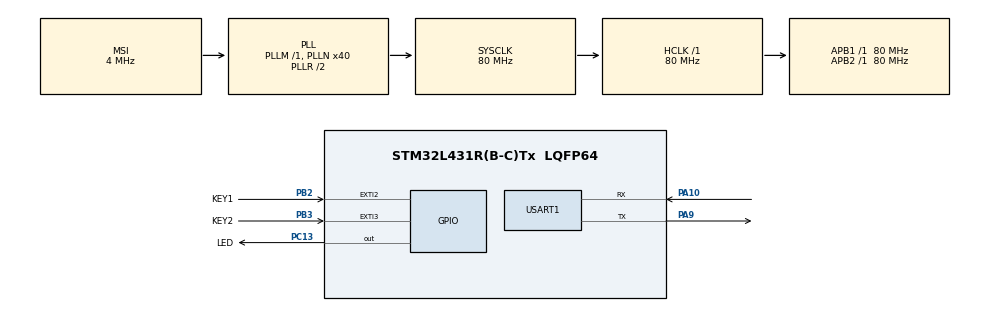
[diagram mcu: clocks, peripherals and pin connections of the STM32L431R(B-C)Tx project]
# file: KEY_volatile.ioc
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Mcu.Family=STM32L4
Mcu.Name=STM32L431R(B-C)Tx
Mcu.Package=LQFP64
NVIC.EXTI2_IRQn=true\:1\:0\:true\:false\:true\:true\:true
NVIC.EXTI3_IRQn=true\:2\:0\:true\:false\:true\:true\:true
NVIC.PriorityGroup=NVIC_PRIORITYGROUP_4
NVIC.USART1_IRQn=true\:0\:0\:false\:false\:true\:true\:true
PA10.Mode=Asynchronous
PA10.Signal=USART1_RX
PA9.Mode=Asynchronous
PA9.Signal=USART1_TX
PB2.GPIO_Label=KEY1
PB2.GPIO_PuPd=GPIO_PULLUP
PB2.Signal=GPXTI2
PB3\ (JTDO-TRACESWO).GPIO_Label=KEY2
PB3\ (JTDO-TRACESWO).GPIO_PuPd=GPIO_PULLUP
PB3\ (JTDO-TRACESWO).Signal=GPXTI3
PC13.GPIO_Label=LED
PC13.Signal=GPIO_Output
PC14-OSC32_IN\ (PC14).Mode=LSE-External-Oscillator
PC14-OSC32_IN\ (PC14).Signal=RCC_OSC32_IN
PC15-OSC32_OUT\ (PC15).Mode=LSE-External-Oscillator
PC15-OSC32_OUT\ (PC15).Signal=RCC_OSC32_OUT
PH0-OSC_IN\ (PH0).Mode=HSE-External-Oscillator
PH0-OSC_IN\ (PH0).Signal=RCC_OSC_IN
PH1-OSC_OUT\ (PH1).Mode=HSE-External-Oscillator
PH1-OSC_OUT\ (PH1).Signal=RCC_OSC_OUT
ProjectManager.HeapSize=0x200
ProjectManager.StackSize=0x400
ProjectManager.TargetToolchain=MDK-ARM V5.32
RCC.AHBFreq_Value=80000000
RCC.APB1Freq_Value=80000000
RCC.APB1TimFreq_Value=80000000
RCC.APB2Freq_Value=80000000
RCC.APB2TimFreq_Value=80000000
RCC.CortexFreq_Value=80000000
RCC.HCLKFreq_Value=80000000
RCC.HSE_VALUE=8000000
RCC.HSI48_VALUE=48000000
RCC.HSI_VALUE=16000000
RCC.MSI_VALUE=4000000
RCC.PLLN=40
RCC.SYSCLKFreq_VALUE=80000000
RCC.SYSCLKSource=RCC_SYSCLKSOURCE_PLLCLK
RCC.VCOOutputFreq_Value=160000000
USART1.VirtualMode-Asynchronous=VM_ASYNC
board=custom

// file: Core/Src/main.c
/* USER CODE BEGIN Header */
/**
  ******************************************************************************
  * @file           : main.c
  * @brief          : Main program body
  ******************************************************************************
  * @attention
  *
  * <h2><center>&copy; Copyright (c) 2021 STMicroelectronics.
  * All rights reserved.</center></h2>
  *
  * This software component is licensed by ST under BSD 3-Clause license,
  * the "License"; You may not use this file except in compliance with the
  * License. You may obtain a copy of the License at:
  *                        opensource.org/licenses/BSD-3-Clause
  *
  ******************************************************************************
  */
/* USER CODE END Header */
#include "main.h"
#include "usart.h"
#include "gpio.h"
#include "stdio.h"

/* USER CODE BEGIN PTD */
//用variable1和variable2来比较加入修饰符volatile的作用
char  variable1;//变量1不加修饰符volatile
char volatile variable2; //变量2加入修饰符volatile
uint8_t hello[] = "USART1 is ready!!!\n";
uint8_t word[] = "variable2 != flag\n";
uint8_t recv_buf[13] = {0};
/* USER CODE END PTD */

void SystemClock_Config(void);

/* USER CODE BEGIN 0 */
extern void v_IntOccured(void);
/* USER CODE END 0 */

int main(void)
{
  /* USER CODE BEGIN 1 */
	char flag;
  /* USER CODE END 1 */

  /* MCU Configuration--------------------------------------------------------*/

  /* Reset of all peripherals, Initializes the Flash interface and the Systick. */
  HAL_Init();

  /* Configure the system clock */
  SystemClock_Config();

  /* Initialize all configured peripherals */
  MX_GPIO_Init();
  MX_USART1_UART_Init();
  /* USER CODE BEGIN 2 */
	//使能串口中断接收
  HAL_UART_Receive_IT(&huart1, (uint8_t*)recv_buf, 13);
  //发送提示信息
  HAL_UART_Transmit_IT(&huart1, (uint8_t*)hello, sizeof(hello));

  /* USER CODE END 2 */

  /* Infinite loop */
  while (1)
  {

    /* USER CODE BEGIN 3 */
				flag = variable1;
		if (variable1 != flag) {
			v_IntOccured();
		}
		flag = variable2;
		if (variable2 != flag) {
			HAL_UART_Transmit_IT(&huart1, (uint8_t*)word, sizeof(word));//触发中断，发送信息
		}
  }
  /* USER CODE END 3 */
}

void SystemClock_Config(void)
{
  RCC_OscInitTypeDef RCC_OscInitStruct = {0};
  RCC_ClkInitTypeDef RCC_ClkInitStruct = {0};

  /** Configure the main internal regulator output voltage
  */
  if (HAL_PWREx_ControlVoltageScaling(PWR_REGULATOR_VOLTAGE_SCALE1) != HAL_OK)
  {
    Error_Handler();
  }
  /** Configure LSE Drive Capability
  */
  HAL_PWR_EnableBkUpAccess();
  __HAL_RCC_LSEDRIVE_CONFIG(RCC_LSEDRIVE_LOW);
  /** Initializes the RCC Oscillators according to the specified parameters
  * in the RCC_OscInitTypeDef structure.
  */
  RCC_OscInitStruct.OscillatorType = RCC_OSCILLATORTYPE_LSE|RCC_OSCILLATORTYPE_MSI;
  RCC_OscInitStruct.LSEState = RCC_LSE_ON;
  RCC_OscInitStruct.MSIState = RCC_MSI_ON;
  RCC_OscInitStruct.MSICalibrationValue = 0;
  RCC_OscInitStruct.MSIClockRange = RCC_MSIRANGE_6;
  RCC_OscInitStruct.PLL.PLLState = RCC_PLL_ON;
  RCC_OscInitStruct.PLL.PLLSource = RCC_PLLSOURCE_MSI;
  RCC_OscInitStruct.PLL.PLLM = 1;
  RCC_OscInitStruct.PLL.PLLN = 40;
  RCC_OscInitStruct.PLL.PLLP = RCC_PLLP_DIV7;
  RCC_OscInitStruct.PLL.PLLQ = RCC_PLLQ_DIV2;
  RCC_OscInitStruct.PLL.PLLR = RCC_PLLR_DIV2;
  if (HAL_RCC_OscConfig(&RCC_OscInitStruct) != HAL_OK)
  {
    Error_Handler();
  }
  /** Initializes the CPU, AHB and APB buses clocks
  */
  RCC_ClkInitStruct.ClockType = RCC_CLOCKTYPE_HCLK|RCC_CLOCKTYPE_SYSCLK
                              |RCC_CLOCKTYPE_PCLK1|RCC_CLOCKTYPE_PCLK2;
  RCC_ClkInitStruct.SYSCLKSource = RCC_SYSCLKSOURCE_PLLCLK;
  RCC_ClkInitStruct.AHBCLKDivider = RCC_SYSCLK_DIV1;
  RCC_ClkInitStruct.APB1CLKDivider = RCC_HCLK_DIV1;
  RCC_ClkInitStruct.APB2CLKDivider = RCC_HCLK_DIV1;

  if (HAL_RCC_ClockConfig(&RCC_ClkInitStruct, FLASH_LATENCY_4) != HAL_OK)
  {
    Error_Handler();
  }
  /** Enable MSI Auto calibration
  */
  HAL_RCCEx_EnableMSIPLLMode();
}

/* USER CODE BEGIN 4 */

/**
 * @brief	EXIT中断回调函数
 * @param GPIO_Pin 触发中断的引脚
 * @retval	none
*/
void HAL_GPIO_EXTI_Callback(uint16_t GPIO_Pin)
{
	//判断哪个引脚触发了中断
	switch(GPIO_Pin)
	{
		case GPIO_PIN_2:
			//处理GPIO2发生的中断
			//点亮LED
			HAL_GPIO_WritePin(LED_GPIO_Port,LED_Pin,GPIO_PIN_SET);
			variable1++;
			variable2++;
			break;
		case GPIO_PIN_3:
			//处理GPIO3发生的中断
			//熄灭LED
			HAL_GPIO_WritePin(LED_GPIO_Port,LED_Pin,GPIO_PIN_RESET);
			break;
		default:
			break;
	}
}

//***************************************************************
// 函数： v_IntOccured()
// 用途：死循环
//***************************************************************
void v_IntOccured()
{
	while(1) {
		HAL_UART_Transmit_IT(&huart1, (uint8_t*)hello, sizeof(hello));
	}
}

//中断回调函数
void HAL_UART_RxCpltCallback(UART_HandleTypeDef *huart)
{
	//判断是哪个串口触发中断
	if(huart ->Instance == USART1)
	{
		//将接受到的数据发送
		HAL_UART_Transmit_IT(huart, (uint8_t*)recv_buf, 13);
		//重新使能串口接收中断
		HAL_UART_Receive_IT(huart, (uint8_t*)recv_buf, 13);
	}
}

/* USER CODE END 4 */

void Error_Handler(void)
{
  __disable_irq();
  while (1)
  {
  }
}

/************************ (C) COPYRIGHT STMicroelectronics *****END OF FILE****/
